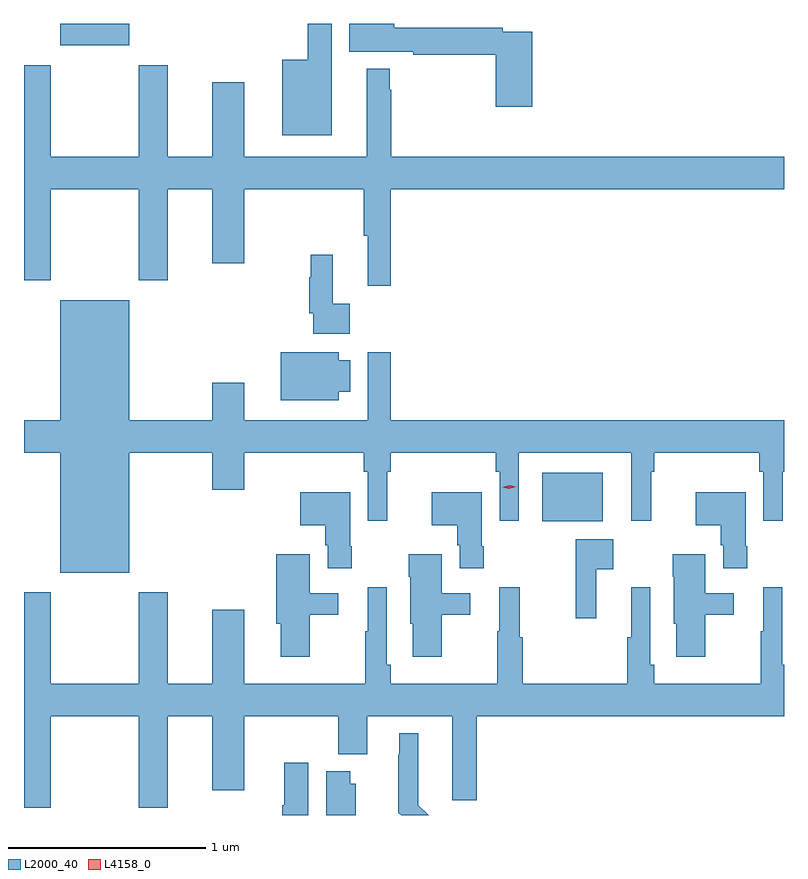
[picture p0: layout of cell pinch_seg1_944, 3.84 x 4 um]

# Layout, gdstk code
import gdstk
lib = gdstk.Library(unit=1e-6, precision=1e-09)
def R(c, l, rs):  # rectangles x0, y0, x1, y1
    for r in rs: c.add(gdstk.rectangle(r[:2], r[2:], *l))
def P(c, l, *ps):  # polygons
    for p in ps: c.add(gdstk.Polygon(p, *l))
L2000_40 = (2000, 40)
L4158_0 = (4158, 0)

pinch_seg1_944 = lib.new_cell('pinch_seg1_944')
R(pinch_seg1_944, L2000_40, [(113.618,504.767,113.923,505.012), (111.182,507.17,111.532,507.28)])
P(pinch_seg1_944, L2000_40, [(112.555,507.28),(112.434,507.28),(112.434,507.097),(112.304,507.097),(112.304,506.717),(112.555,506.717)],
  [(113.567,507.24),(113.42,507.24),(113.42,507.26),(112.87,507.26),(112.87,507.28),(112.643,507.28),(112.643,507.137),(112.966,507.137),(112.966,507.124),(113.384,507.124),(113.384,506.859),(113.567,506.859)],
  [(112.853,506.444),(114.84,506.444),(114.84,506.608),(112.855,506.608),(112.855,506.945),(112.848,506.945),(112.848,507.052),(112.733,507.052),(112.733,506.608),(112.114,506.608),(112.114,506.983),(111.95,506.983),(111.95,506.608),(111.727,506.608),(111.727,507.07),(111.58,507.07),(111.58,506.608),(111.135,506.608),(111.135,507.07),(111,507.07),(111,505.983),(111.135,505.983),(111.135,506.444),(111.58,506.444),(111.58,505.983),(111.727,505.983),(111.727,506.444),(111.95,506.444),(111.95,506.07),(112.114,506.07),(112.114,506.444),(112.717,506.444),(112.717,506.208),(112.736,506.208),(112.736,505.956),(112.853,505.956)],
  [(112.645,505.865),(112.559,505.865),(112.559,506.113),(112.449,506.113),(112.449,506),(112.441,506),(112.441,505.816),(112.461,505.816),(112.461,505.712),(112.645,505.712)],
  [(111.532,505.112),(111.95,505.112),(111.95,504.924),(112.114,504.924),(112.114,505.112),(112.717,505.112),(112.717,505.016),(112.737,505.016),(112.737,504.768),(112.836,504.768),(112.836,505.016),(112.853,505.016),(112.853,505.112),(113.383,505.112),(113.383,505.016),(113.403,505.016),(113.403,504.768),(113.499,504.768),(113.499,505.112),(114.068,505.112),(114.068,504.768),(114.168,504.768),(114.168,505.016),(114.185,505.016),(114.185,505.112),(114.715,505.112),(114.715,505.016),(114.735,505.016),(114.735,504.768),(114.834,504.768),(114.834,505.016),(114.84,505.016),(114.84,505.276),(112.853,505.276),(112.853,505.621),(112.737,505.621),(112.737,505.276),(112.114,505.276),(112.114,505.465),(111.95,505.465),(111.95,505.276),(111.532,505.276),(111.532,505.882),(111.182,505.882),(111.182,505.276),(111,505.276),(111,505.112),(111.182,505.112),(111.182,504.506),(111.532,504.506)],
  [(112.591,505.421),(112.648,505.421),(112.648,505.579),(112.591,505.579),(112.591,505.621),(112.298,505.621),(112.298,505.376),(112.591,505.376)],
  [(113.322,504.64),(113.314,504.64),(113.314,504.913),(113.061,504.913),(113.061,504.746),(113.189,504.746),(113.189,504.645),(113.201,504.645),(113.201,504.528),(113.322,504.528)],
  [(112.656,504.64),(112.648,504.64),(112.648,504.913),(112.395,504.913),(112.395,504.746),(112.523,504.746),(112.523,504.645),(112.535,504.645),(112.535,504.528),(112.656,504.528)],
  [(114.654,504.64),(114.646,504.64),(114.646,504.913),(114.393,504.913),(114.393,504.746),(114.521,504.746),(114.521,504.645),(114.533,504.645),(114.533,504.528),(114.654,504.528)],
  [(113.891,504.524),(113.977,504.524),(113.977,504.676),(113.788,504.676),(113.788,504.276),(113.891,504.276)],
  [(113.11,504.294),(113.254,504.294),(113.254,504.402),(113.11,504.402),(113.11,504.598),(112.945,504.598),(112.945,504.485),(112.952,504.485),(112.952,504.249),(112.964,504.249),(112.964,504.081),(113.11,504.081)],
  [(114.442,504.294),(114.586,504.294),(114.586,504.402),(114.442,504.402),(114.442,504.598),(114.277,504.598),(114.277,504.485),(114.284,504.485),(114.284,504.249),(114.296,504.249),(114.296,504.081),(114.442,504.081)],
  [(112.444,504.294),(112.588,504.294),(112.588,504.402),(112.444,504.402),(112.444,504.598),(112.274,504.598),(112.274,504.249),(112.298,504.249),(112.298,504.081),(112.444,504.081)],
  [(111.135,503.78),(111.58,503.78),(111.58,503.319),(111.727,503.319),(111.727,503.78),(111.95,503.78),(111.95,503.406),(112.114,503.406),(112.114,503.78),(112.588,503.78),(112.588,503.588),(112.735,503.588),(112.735,503.78),(113.165,503.78),(113.165,503.355),(113.288,503.355),(113.288,503.78),(114.84,503.78),(114.84,504.04),(114.831,504.04),(114.831,504.433),(114.734,504.433),(114.734,504.209),(114.723,504.209),(114.723,503.944),(114.185,503.944),(114.185,504.04),(114.165,504.04),(114.165,504.433),(114.068,504.433),(114.068,504.18),(114.049,504.18),(114.049,503.944),(113.519,503.944),(113.519,504.18),(113.504,504.18),(113.504,504.433),(113.402,504.433),(113.402,504.209),(113.391,504.209),(113.391,503.944),(112.853,503.944),(112.853,504.04),(112.833,504.04),(112.833,504.433),(112.736,504.433),(112.736,504.209),(112.725,504.209),(112.725,503.944),(112.114,503.944),(112.114,504.319),(111.95,504.319),(111.95,503.944),(111.727,503.944),(111.727,504.406),(111.58,504.406),(111.58,503.944),(111.135,503.944),(111.135,504.406),(111,504.406),(111,503.319),(111.135,503.319)],
  [(112.993,503.332),(112.993,503.695),(112.895,503.695),(112.895,503.585),(112.891,503.585),(112.891,503.294),(112.905,503.28),(113.044,503.28)],
  [(112.435,503.545),(112.316,503.545),(112.316,503.332),(112.304,503.332),(112.304,503.28),(112.435,503.28)],
  [(112.675,503.439),(112.648,503.439),(112.648,503.503),(112.526,503.503),(112.526,503.28),(112.675,503.28)])
P(pinch_seg1_944, L4158_0, [(113.452,504.929),(113.416,504.937),(113.416,504.937),(113.416,504.938),(113.452,504.948),(113.487,504.94),(113.488,504.94),(113.487,504.939)])

lib.write_gds('pinch_seg1_944.gds')
